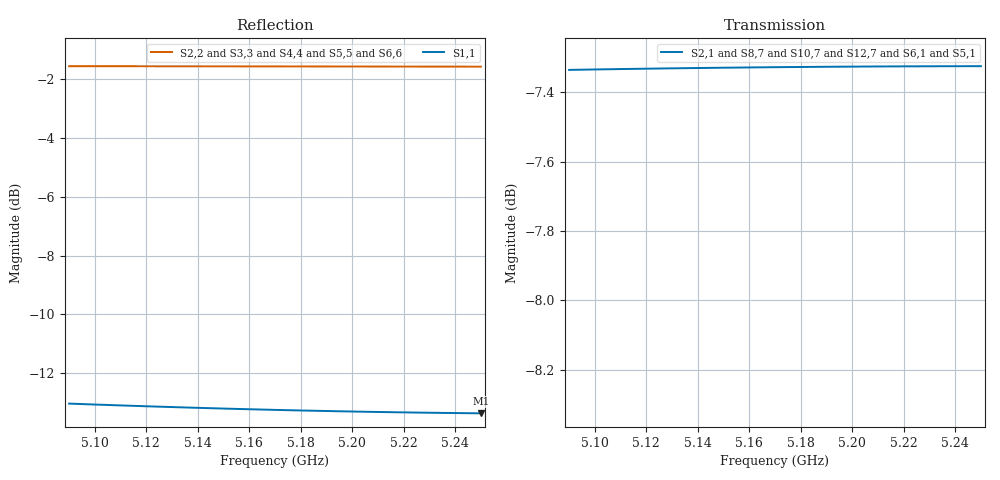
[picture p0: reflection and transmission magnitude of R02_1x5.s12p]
! Touchstone file exported from HFSS 2024.2.0
!  File:  D:/dev/EMBRAER/P1H/R02_Estudo/revisao/1x5/R02_Duplo_1x5.aedt
!  Generated:  07:22:27 PM Nov  6, 2026
!  Design:  Duplo_radial
!  Project:  R02_Duplo_1x5
!  Setup:  Divisor
!  Solution:  Banda
# GHz S RI R 50.000000
! Terminal data exported
! Port[1] = A_IN
! Port[2] = A1
! Port[3] = A2
! Port[4] = A3
! Port[5] = A4
! Port[6] = A5
! Port[7] = B_IN
! Port[8] = B1
! Port[9] = B2
! Port[10] = B3
! Port[11] = B4
! Port[12] = B5
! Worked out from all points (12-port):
!   17 points, 5.09 GHz to 5.25 GHz, reference 50 ohm
!   strongest paths, dB at 5.09 GHz, 5.13 GHz, 5.17 GHz, 5.21 GHz, 5.25 GHz:
!     S2,1: -7.3, -7.3, -7.3, -7.3, -7.3
!     S8,7: -7.3, -7.3, -7.3, -7.3, -7.3
!     S10,7: -7.3, -7.3, -7.3, -7.3, -7.3
!     S12,7: -7.3, -7.3, -7.3, -7.3, -7.3
!     S6,1: -7.4, -7.3, -7.3, -7.3, -7.3
!     S5,1: -7.4, -7.4, -7.4, -7.4, -7.4
!   lowest |S11| = -13.4 dB at 5.25 GHz (marker M1), VSWR 1.55, Z = 58.5 - j22.2 ohm
!   |S11| at or under -10 dB: start of sweep to end of sweep
